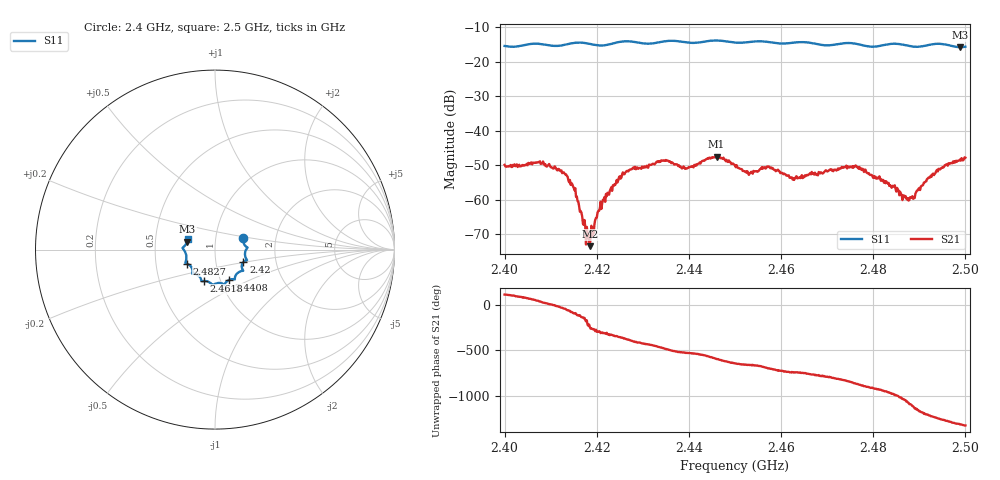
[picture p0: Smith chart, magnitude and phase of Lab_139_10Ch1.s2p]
# Hz S RI R 50
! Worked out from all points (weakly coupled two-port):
!   601 points, 2.4 GHz to 2.5 GHz, reference 50 ohm
!   highest |S21| = -47.52 dB at 2.446 GHz (marker M1); lowest = -73.4 dB at 2.4185 GHz (marker M2)
!   lowest |S11| = -15.8 dB at 2.4988 GHz (marker M3), VSWR 1.39, Z = 36.4 + j3.34 ohm
!   |S11| at or under -10 dB: start of sweep to end of sweep
!   S12 and S22 are empty: the file has one direction only
!   S11 on the Smith chart (normalised r, x): 2.4 GHz: 1.36, +0.17; 2.42 GHz: 1.36, -0.19; 2.4408 GHz: 1.10, -0.38; 2.4618 GHz: 0.84, -0.30; 2.4827 GHz: 0.72, -0.12; 2.5 GHz: 0.73, +0.09
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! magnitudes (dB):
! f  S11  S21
! 2.4 GHz  -15.5  -49.9
! 2.4078 GHz  -14.9  -49.6
! 2.4123 GHz  -15.3  -51.5
! 2.4148 GHz  -14.7  -56.1
! 2.4167 GHz  -14.5  -63.7
! 2.418 GHz  -14.8  -69.4
! 2.4185 GHz  -14.9  -73.4
! 2.42 GHz  -15.3  -65.2
! 2.426 GHz  -14.2  -52.6
! 2.4333 GHz  -14.5  -48.8
! 2.4408 GHz  -14.6  -50.4
! 2.446 GHz  -13.9  -47.5
! 2.45 GHz  -14.5  -50.1
! 2.4618 GHz  -14.7  -53.6
! 2.4667 GHz  -14.7  -51.9
! 2.476 GHz  -14.8  -50.4
! 2.4827 GHz  -15.1  -55.2
! 2.4833 GHz  -15.0  -55.1
! 2.4882 GHz  -15.6  -59.4
! 2.4942 GHz  -14.9  -51.0
! 2.4988 GHz  -15.8  -48.3
! 2.5 GHz  -15.7  -47.8
